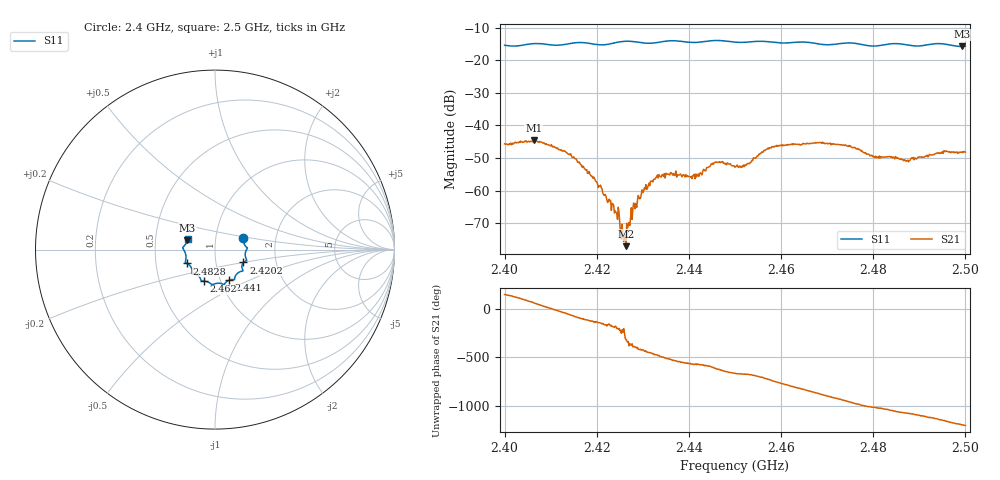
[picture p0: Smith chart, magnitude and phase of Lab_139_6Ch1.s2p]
# Hz S RI R 50
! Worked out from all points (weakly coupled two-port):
!   601 points, 2.4 GHz to 2.5 GHz, reference 50 ohm
!   highest |S21| = -44.58 dB at 2.4063 GHz (marker M1); lowest = -77.1 dB at 2.4263 GHz (marker M2)
!   lowest |S11| = -15.8 dB at 2.4993 GHz (marker M3), VSWR 1.39, Z = 36.5 + j3.89 ohm
!   |S11| at or under -10 dB: start of sweep to end of sweep
!   S12 and S22 are empty: the file has one direction only
!   S11 on the Smith chart (normalised r, x): 2.4 GHz: 1.36, +0.17; 2.4202 GHz: 1.36, -0.20; 2.441 GHz: 1.10, -0.39; 2.462 GHz: 0.83, -0.30; 2.4828 GHz: 0.72, -0.11; 2.5 GHz: 0.73, +0.09
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2.4e9  0.158 0.0621  -0.0042 0.00309  0 0  0 0
2.406333e9  0.1797 0.0106  0.00323 0.00494  0 0  0 0
2.413167e9  0.1703 -0.0415  0.00278 -0.00285  0 0  0 0
2.416667e9  0.1768 -0.0606  -0.000605 -0.00239  0 0  0 0
2.420167e9  0.1578 -0.0718  -0.00103 -0.000729  0 0  0 0
2.424333e9  0.1526 -0.1093  -0.000402 0.000186  0 0  0 0
2.425833e9  0.1558 -0.1169  -0.000149 7.38e-05  0 0  0 0
2.426333e9  0.1563 -0.118  0.000102 9.53e-05  0 0  0 0
2.428e9  0.1517 -0.1197  0.000548 -0.000337  0 0  0 0
2.429333e9  0.1421 -0.1221  0.000341 -0.000661  0 0  0 0
2.433333e9  0.1117 -0.151  -0.000899 -0.00127  0 0  0 0
2.441e9  0.078 -0.1702  -0.00138 0.000977  0 0  0 0
2.446e9  0.0499 -0.1947  -0.000401 0.00268  0 0  0 0
2.45e9  0.0277 -0.1876  0.00133 0.00184  0 0  0 0
2.457667e9  -0.0236 -0.1897  0.00437 -0.00118  0 0  0 0
2.462e9  -0.0609 -0.1756  0.00121 -0.00496  0 0  0 0
2.466667e9  -0.0787 -0.1678  -0.00365 -0.00383  0 0  0 0
2.482833e9  -0.1571 -0.0768  0.00236 0.00229  0 0  0 0
2.483333e9  -0.1602 -0.0754  0.0025 0.00214  0 0  0 0
2.4875e9  -0.1623 -0.0545  0.00293 0.000155  0 0  0 0
2.499333e9  -0.154 0.0519  -0.00168 -0.00355  0 0  0 0
2.5e9  -0.1525 0.0615  -0.00207 -0.0033  0 0  0 0
